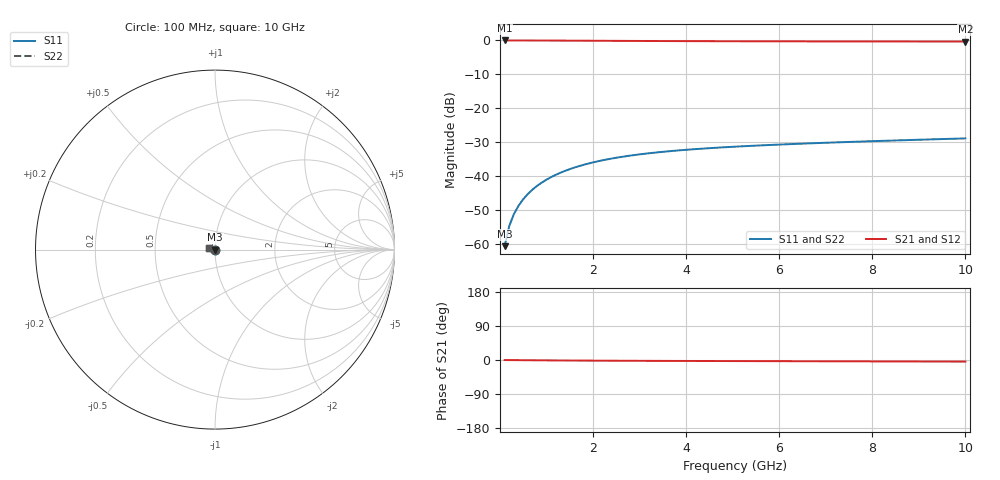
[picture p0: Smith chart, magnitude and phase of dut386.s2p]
! Touchstone file exported from HFSS 2024.1.0
!  File:  C:/UserFiles/LocalFiles/RDL_TSV_Batchsim/temp_TSV1_386_1779623422.aedt
!  Generated:  07:56:03 PM May 24, 2026
!  Design:  TSV1
!  Project:  temp_TSV1_386_1779623422
!  Setup:  Setup1
!  Solution:  Sweep
! Variables:
!  dtsv = 10.23um
!  hbump = 3um
!  htsv = 61.57um
!  lrdl = 252.1521522um
!  p = 40
!  p1 = 58.31um
!  t = 500um
!  trdl = 3um
!  wrdl = 24.89489489um
# GHz S MA R 50.000000
! Terminal data exported
! Port[1] = TSV22_T1
! Port[2] = TSV22_T2
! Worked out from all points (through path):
!   100 points, 100 MHz to 10 GHz, reference 50 ohm
!   highest |S21| = 0.00 dB at 100 MHz (marker M1); lowest = -0.3 dB at 10 GHz (marker M2)
!   lowest |S11| = -60.8 dB at 100 MHz (marker M3), VSWR 1.00, Z = 50 - j0.091 ohm
!   |S11| at or under -10 dB: start of sweep to end of sweep
!   |S22| runs from -60.8 to -28.9 dB; largest |S21 - S12| = 5.4e-15
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0.1  0.0009134 -84.8  0.9998 -0.1  0.9998 -0.1  0.0009134 -84.8
! Gamma 0 0 0 0
! Port Impedance 50 0 50 0
0.2  0.001817 -90.4  0.9997 -0.2  0.9997 -0.2  0.001817 -90.4
0.3  0.002723 -93.7  0.9995 -0.3  0.9995 -0.3  0.002723 -93.7
0.4  0.003623 -96.5  0.9993 -0.4  0.9993 -0.4  0.003623 -96.5
0.5  0.004516 -99.0  0.999 -0.5  0.999 -0.5  0.004516 -99.0
0.6  0.005398 -101.4  0.9986 -0.6  0.9986 -0.6  0.005398 -101.4
0.7  0.006266 -103.6  0.9982 -0.7  0.9982 -0.7  0.006266 -103.6
0.8  0.007119 -105.9  0.9977 -0.8  0.9977 -0.8  0.007119 -105.9
0.9  0.007955 -108.0  0.9972 -0.9  0.9972 -0.9  0.007955 -108.0
1.1  0.009571 -112.2  0.996 -1.1  0.996 -1.1  0.009571 -112.2
1.4  0.01184 -118.2  0.994 -1.3  0.994 -1.3  0.01184 -118.2
1.6  0.01325 -122.0  0.9926 -1.4  0.9926 -1.4  0.01325 -122.0
1.8  0.01456 -125.6  0.9911 -1.6  0.9911 -1.6  0.01456 -125.6
2.1  0.01637 -130.7  0.9889 -1.7  0.9889 -1.7  0.01637 -130.7
2.5  0.01849 -137.0  0.986 -2.0  0.986 -2.0  0.01849 -137.0
2.9  0.02033 -142.8  0.9834 -2.1  0.9834 -2.1  0.02033 -142.8
3.4  0.02228 -149.3  0.9803 -2.3  0.9803 -2.3  0.02228 -149.3
4.2  0.02481 -158.4  0.9763 -2.6  0.9763 -2.6  0.02481 -158.4
5.1  0.02707 -167.1  0.9728 -2.9  0.9728 -2.9  0.02707 -167.1
6.7  0.03025 -179.7  0.9685 -3.3  0.9685 -3.3  0.03025 -179.7
8.4  0.03314 169.7  0.9656 -3.8  0.9656 -3.8  0.03314 169.7
10  0.03572 161.4  0.9638 -4.2  0.9638 -4.2  0.03572 161.4
